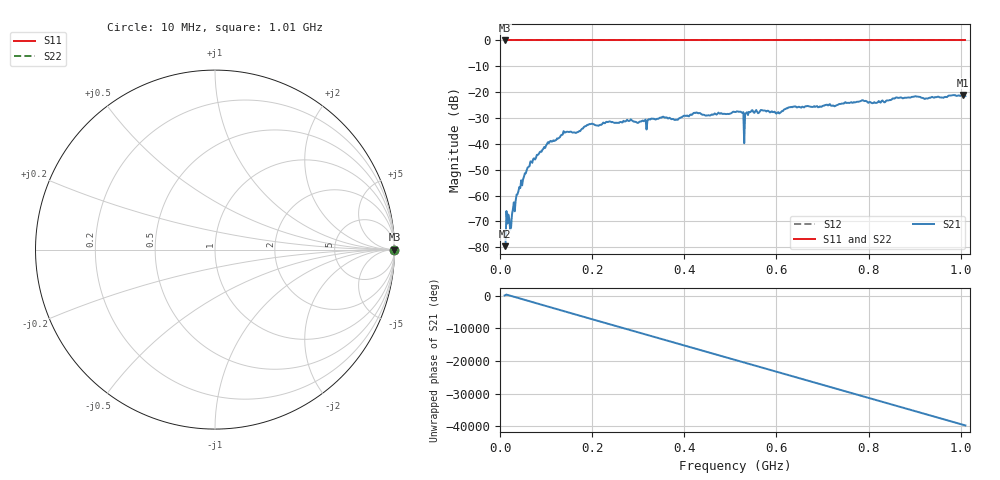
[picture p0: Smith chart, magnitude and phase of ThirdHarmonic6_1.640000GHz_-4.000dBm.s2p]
! 8/16/2025 7:36:51 PM
! C:\ANRITSUVNA\TEMP\TEMP.S2P
! CHANNEL.1
! TR.MEASUREMENT
! RAW.DATA
! RF.CORRECTION.OFF
! AVERAGING.OFF
! IF.BANDWIDTH: 5KHZ
! SWEEPTYPE:  FREQ.SWEEP(Linear)
! Reference Plane Port Info
! PORT:  PORT1  PORT2
! DISTANCE:  0  m  0  m
! TIME:  0  s  0  s
! PHASE.OFFSET:  0  deg.  0  deg.
! LOSS:  0  dB  0  dB
! REF.LOSS:  0  dB  0  dB
! REF.FREQ:  0  Hz  0  Hz
! Power Info
! POWER:  -20  dBm  -20  dBm
! EFF.POWER:  -20  dBm  -20  dBm
! SOURCE.ATTEN:  0  dB  0  dB
! TEST.ATTEN:  0  dB  0  dB
# GHZ S RI R 50.0
! FREQ.GHZ  S11RE  S11IM  S21RE  S21IM  S12RE  S12IM  S22RE  S22IM
!; PortSelection: Port_12
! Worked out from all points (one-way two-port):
!   501 points, 10 MHz to 1.01 GHz, reference 50 ohm
!   highest |S21| = -21.04 dB at 1.004 GHz (marker M1); lowest = -79.6 dB at 10 MHz (marker M2)
!   lowest |S11| = 0.0 dB at 10 MHz (marker M3)
!   |S11| at or under -10 dB: nowhere
!   |S22| runs from 0.0 to 0.0 dB; largest |S21 - S12| = 1.1
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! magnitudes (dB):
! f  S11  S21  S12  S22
! 10 MHz  0.0  -79.6  0.0  0.0
! 18 MHz  0.0  -67.3  0.0  0.0
! 24 MHz  0.0  -72.4  0.0  0.0
! 42 MHz  0.0  -56.7  0.0  0.0
! 70 MHz  0.0  -47.3  0.0  0.0
! 106 MHz  0.0  -39.7  0.0  0.0
! 142 MHz  0.0  -35.6  0.0  0.0
! 178 MHz  0.0  -34.2  0.0  0.0
! 198 MHz  0.0  -32.3  0.0  0.0
! 344 MHz  0.0  -30.2  0.0  0.0
! 510 MHz  0.0  -27.7  0.0  0.0
! 524 MHz  0.0  -27.8  0.0  0.0
! 526 MHz  0.0  -28.0  0.0  0.0
! 534 MHz  0.0  -28.1  0.0  0.0
! 536 MHz  0.0  -27.8  0.0  0.0
! 544 MHz  0.0  -27.6  0.0  0.0
! 604 MHz  0.0  -27.7  0.0  0.0
! 630 MHz  0.0  -25.8  0.0  0.0
! 678 MHz  0.0  -25.7  0.0  0.0
! 844 MHz  0.0  -23.2  0.0  0.0
! 1.004 GHz  0.0  -21.0  0.0  0.0
! 1.01 GHz  0.0  -21.5  0.0  0.0
